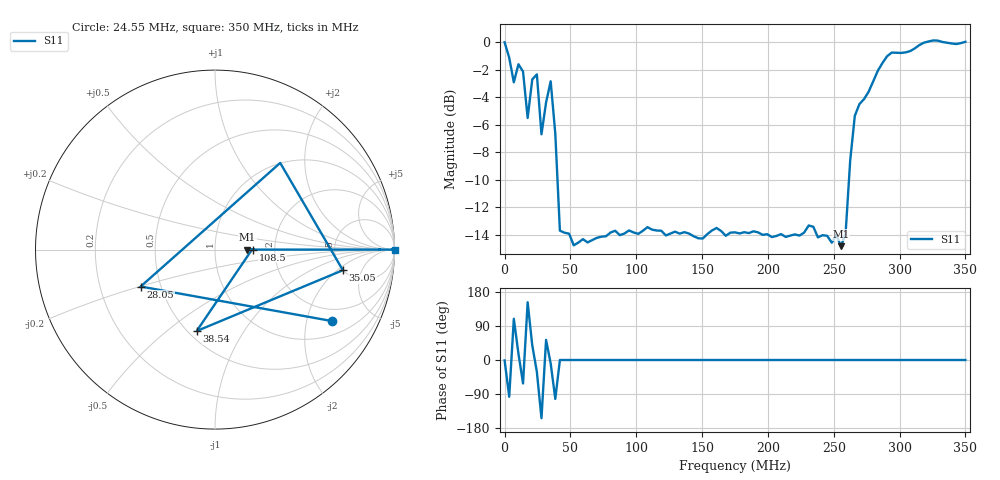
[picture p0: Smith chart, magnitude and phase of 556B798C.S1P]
!File created by NanoVNA
# Hz S RI R 50
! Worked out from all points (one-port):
!   101 points, 50 kHz to 350 MHz, reference 50 ohm
!   lowest |S11| = -14.8 dB at 255.5 MHz (marker M1), VSWR 1.44, Z = 72.1 + j0 ohm
!   |S11| at or under -10 dB: 40.2 MHz to 261.6 MHz (221.4 MHz wide, 147 % of centre)
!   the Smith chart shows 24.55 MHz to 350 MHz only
!   S11 on the Smith chart (normalised r, x): 24.55 MHz: 1.49, -2.85; 28.05 MHz: 0.38, -0.20; 35.05 MHz: 5.00, -2.40; 38.54 MHz: 0.55, -0.64; 108.5 MHz: 1.54, +0.00; 350 MHz: open
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50000  1.001 -0.019
3549500  -0.1072 -0.873
7049000  -0.231 0.6771
1.05485e7  0.7963 0.243
1.4048e7  0.3686 -0.6906
1.75475e7  -0.4702 0.2455
2.1047e7  0.5705 0.4599
2.45465e7  0.6528 -0.3983
2.8046e7  -0.4142 -0.2057
3.15455e7  0.3633 0.4829
3.5045e7  0.7125 -0.1149
3.85445e7  -0.1021 -0.4537
4.2044e7  0.2061 0
4.55435e7  0.2026 0
8.75375e7  0.1985 0
1.085345e8  0.2123 0
1.33031e8  0.2011 0
1.75025e8  0.2032 0
2.205185e8  0.1998 0
2.31017e8  0.2153 0
2.555135e8  0.181 0
2.59013e8  0.2013 0
2.625125e8  0.3709 0
2.66012e8  0.5399 0
2.905085e8  0.8901 0
3.08006e8  0.9295 0
3.255035e8  1.016 0
3.5e8  1.005 0
